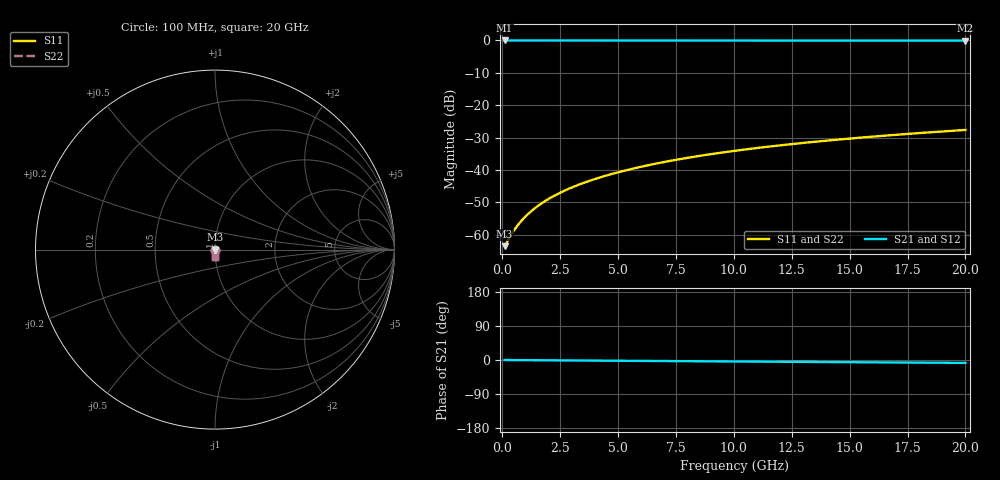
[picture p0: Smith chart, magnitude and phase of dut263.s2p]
! Touchstone file exported from HFSS 2026.1.0
!  File:  C:/ffzhzh/LocalFiles/Ansys_Project_Files/temp_train_TMRDL_263_1782985048_45328.aedt
!  Generated:  05:38:35 PM Jul  2, 2026
!  Design:  TMRDL
!  Project:  temp_train_TMRDL_263_1782985048_45328
! Variables:
!  h_bsmrdl = 2um
!  h_ox = 20um
!  h_rdl = 5um
!  h_sub = 80um
!  h_tmrdl = 4.26um
!  h_tsv = 80um
!  h_via = 3um
!  l_bsmrdl = 300um
!  l_sub = 521.88um
!  l_tmrdl = 121.88um
!  m_sub = 200um
!  pitch = 24.2um
!  r_tsv = 6um
!  s_tmrdl = 10um
!  w_bsmrdl = 18um
!  w_sub = 500um
!  w_tmrdl = 22.24um
!  x_tsv_center1 = 133um
!  x_tsv_center2 = 451um
!  x_tsv_center3 = 595.12um
!  x_tsv_center4 = 913.12um
!  x_tsv_center5 = 1057.24um
!  x_tsv_center6 = 1375.24um
# GHz S MA R 50.000000
! Terminal data exported
! Port[1] = TM_RDL1_1_T1
! Port[2] = TM_RDL1_1_T2
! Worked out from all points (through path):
!   200 points, 100 MHz to 20 GHz, reference 50 ohm
!   highest |S21| = -0.01 dB at 100 MHz (marker M1); lowest = -0.1 dB at 20 GHz (marker M2)
!   group delay of S21, straight-line fit = 1.06 ps
!   lowest |S11| = -63.5 dB at 100 MHz (marker M3), VSWR 1.00, Z = 50.1 - j0.00162 ohm
!   |S11| at or under -10 dB: start of sweep to end of sweep
!   |S22| runs from -63.5 to -27.6 dB; largest |S21 - S12| = 4.1e-15
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0.1  0.000668 -1.4  0.9993 -0.0  0.9993 -0.0  0.000668 -1.4
! Gamma 0 0 0 0
! Port Impedance 50 0 50 0
0.4  0.001023 -20.3  0.999 -0.2  0.999 -0.2  0.001023 -20.3
0.5  0.001162 -27.2  0.999 -0.2  0.999 -0.2  0.001162 -27.2
0.7  0.001452 -38.6  0.9989 -0.3  0.9989 -0.3  0.001452 -38.6
1  0.001913 -50.2  0.9988 -0.4  0.9988 -0.4  0.001913 -50.2
1.2  0.002234 -55.4  0.9987 -0.5  0.9987 -0.5  0.002234 -55.4
1.4  0.002562 -59.3  0.9987 -0.6  0.9987 -0.6  0.002562 -59.3
1.8  0.003238 -64.8  0.9986 -0.7  0.9986 -0.7  0.003238 -64.8
2.3  0.00411 -69.0  0.9985 -0.9  0.9985 -0.9  0.00411 -69.0
2.9  0.005192 -72.1  0.9983 -1.2  0.9983 -1.2  0.005192 -72.1
3.5  0.006307 -74.2  0.9981 -1.4  0.9981 -1.4  0.006307 -74.2
4.2  0.007646 -75.9  0.9979 -1.7  0.9979 -1.7  0.007646 -75.9
5  0.009222 -77.3  0.9976 -2.0  0.9976 -2.0  0.009222 -77.3
5.9  0.01104 -78.6  0.9973 -2.3  0.9973 -2.3  0.01104 -78.6
6.8  0.0129 -79.7  0.997 -2.7  0.997 -2.7  0.0129 -79.7
8.3  0.01606 -81.3  0.9965 -3.3  0.9965 -3.3  0.01606 -81.3
10.1  0.01992 -83.0  0.996 -3.9  0.996 -3.9  0.01992 -83.0
11.7  0.02339 -84.3  0.9956 -4.5  0.9956 -4.5  0.02339 -84.3
13.4  0.02709 -85.6  0.9951 -5.2  0.9951 -5.2  0.02709 -85.6
15  0.03059 -86.7  0.9947 -5.8  0.9947 -5.8  0.03059 -86.7
16.7  0.03431 -87.8  0.9943 -6.4  0.9943 -6.4  0.03431 -87.8
20  0.04156 -89.8  0.9934 -7.6  0.9934 -7.6  0.04156 -89.8
